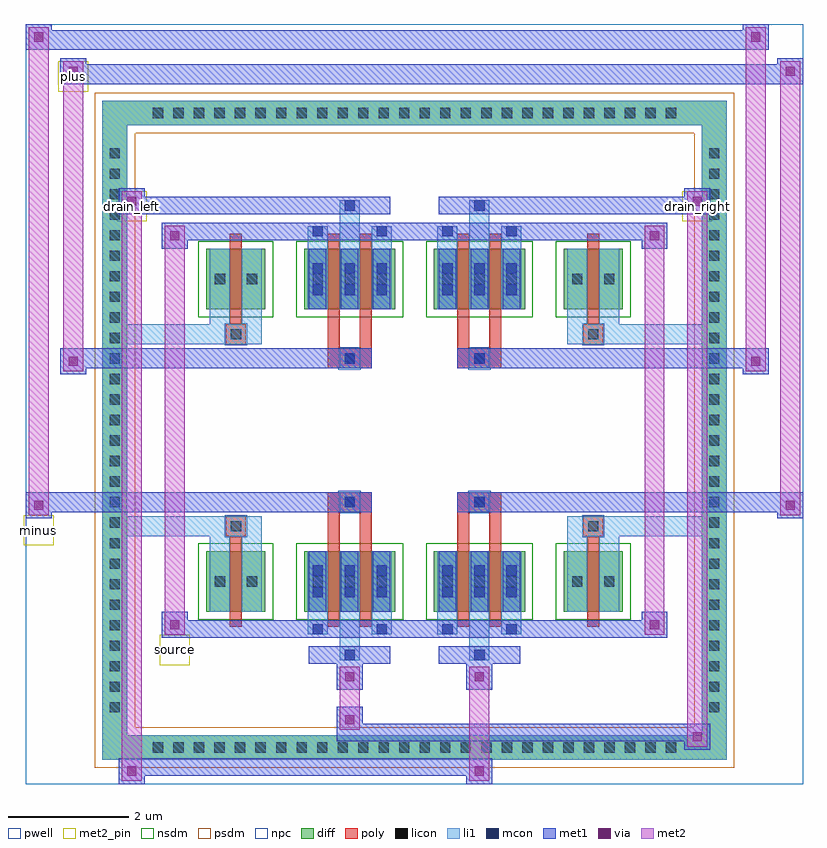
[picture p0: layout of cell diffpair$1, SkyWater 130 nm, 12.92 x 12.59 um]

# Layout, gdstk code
import gdstk
lib = gdstk.Library(unit=1e-6, precision=5e-09)
def R(c, l, rs):  # rectangles x0, y0, x1, y1
    for r in rs: c.add(gdstk.rectangle(r[:2], r[2:], *l))
def A(c, l, x, y, w, h, nx, ny, dx, dy):  # array of equal rectangles
    R(c, l, [(x+i*dx, y+j*dy, x+i*dx+w, y+j*dy+h) for i in range(nx) for j in range(ny)])
def P(c, l, *ps):  # polygons
    for p in ps: c.add(gdstk.Polygon(p, *l))
pwell = (64, 44)
diff = (65, 20)
poly = (66, 20)
licon = (66, 44)
li1 = (67, 20)
mcon = (67, 44)
met1 = (68, 20)
via = (68, 44)
met2_pin = (69, 16)
met2 = (69, 20)
nsdm = (93, 44)
psdm = (94, 20)
npc = (95, 20)

diffpair_1 = lib.new_cell('diffpair$1')
R(diffpair_1, pwell, [(-6.44,-5.86,6.44,6.73), (-3.76,-4.05,-0.01,-0.825), (0.01,-4.05,3.76,-0.825), (-3.76,0.825,-0.01,4.05), (0.01,0.825,3.76,4.05)])
A(diffpair_1, diff, -4.455, -5.46, 0.41, 0.41, 26, 2, 0.34, 10.51)
A(diffpair_1, diff, -5.17, -4.795, 0.41, 0.41, 1, 28, 0, 0.34)
A(diffpair_1, diff, 4.76, -4.795, 0.41, 0.41, 1, 28, 0, 0.34)
R(diffpair_1, diff, [(-4.455,-5.46,4.455,-5.05), (-5.17,-4.795,-4.76,4.795), (4.76,-4.795,5.17,4.795), (-3.45,-3.005,-2.47,-2.005), (-1.83,-3.005,-0.32,-2.005), (0.32,-3.005,1.83,-2.005), (2.47,-3.005,3.45,-2.005), (-3.45,2.005,-2.47,3.005), (-1.83,2.005,-0.32,3.005), (0.32,2.005,1.83,3.005), (2.47,2.005,3.45,3.005), (-4.455,5.05,4.455,5.46)])
P(diffpair_1, diff, [(5.17,5.46),(-5.17,5.46),(-5.17,-5.05),(-4.76,-5.05),(-4.76,5.05),(4.76,5.05),(4.76,-5.05),(-4.76,-5.05),(-5.17,-5.05),(-5.17,-5.46),(5.17,-5.46)])
R(diffpair_1, poly, [(-3.06,-3.255,-2.86,-1.755), (-1.44,-3.255,-1.24,-1.755), (-0.91,-3.255,-0.71,-1.755), (0.71,-3.255,0.91,-1.755), (1.24,-3.255,1.44,-1.755), (2.86,-3.255,3.06,-1.755), (-3.125,-1.755,-2.795,-1.425), (-3.125,-1.755,-2.795,-1.425), (-1.44,-1.755,-1.24,-1.355), (-0.91,-1.755,-0.71,-1.355), (0.71,-1.755,0.91,-1.355), (1.24,-1.755,1.44,-1.355), (2.795,-1.755,3.125,-1.425), (2.795,-1.755,3.125,-1.425), (-1.44,-1.355,-0.71,-1.025), (-1.24,-1.355,-0.91,-1.025), (0.71,-1.355,1.44,-1.025), (0.91,-1.355,1.24,-1.025), (-1.44,1.025,-0.71,1.355), (-1.24,1.025,-0.91,1.355), (0.71,1.025,1.44,1.355), (0.91,1.025,1.24,1.355), (-1.44,1.355,-1.24,1.755), (-0.91,1.355,-0.71,1.755), (0.71,1.355,0.91,1.755), (1.24,1.355,1.44,1.755), (-3.125,1.425,-2.795,1.755), (-3.125,1.425,-2.795,1.755), (2.795,1.425,3.125,1.755), (2.795,1.425,3.125,1.755), (-3.06,1.755,-2.86,3.255), (-1.44,1.755,-1.24,3.255), (-0.91,1.755,-0.71,3.255), (0.71,1.755,0.91,3.255), (1.24,1.755,1.44,3.255), (2.86,1.755,3.06,3.255)])
A(diffpair_1, licon, -4.335, -5.34, 0.17, 0.17, 26, 2, 0.34, 10.51)
A(diffpair_1, licon, -5.05, -4.675, 0.17, 0.17, 1, 28, 0, 0.34)
A(diffpair_1, licon, 4.88, -4.675, 0.17, 0.17, 1, 28, 0, 0.34)
A(diffpair_1, licon, -1.69, -2.59, 0.17, 0.17, 3, 2, 0.53, 5.01)
A(diffpair_1, licon, 0.46, -2.59, 0.17, 0.17, 3, 2, 0.53, 5.01)
R(diffpair_1, licon, [(-3.31,-2.59,-3.14,-2.42), (-2.78,-2.59,-2.61,-2.42), (2.61,-2.59,2.78,-2.42), (3.14,-2.59,3.31,-2.42), (-3.045,-1.675,-2.875,-1.505), (2.875,-1.675,3.045,-1.505), (-1.16,-1.275,-0.99,-1.105), (0.99,-1.275,1.16,-1.105), (-1.16,1.105,-0.99,1.275), (0.99,1.105,1.16,1.275), (-3.045,1.505,-2.875,1.675), (2.875,1.505,3.045,1.675), (-3.31,2.42,-3.14,2.59), (-2.78,2.42,-2.61,2.59), (2.61,2.42,2.78,2.59), (3.14,2.42,3.31,2.59)])
A(diffpair_1, li1, -4.415, -5.42, 0.33, 0.33, 26, 2, 0.34, 10.51)
A(diffpair_1, li1, -5.13, -4.755, 0.33, 0.33, 1, 28, 0, 0.34)
A(diffpair_1, li1, 4.8, -4.755, 0.33, 0.33, 1, 28, 0, 0.34)
A(diffpair_1, li1, -1.77, -3.005, 0.33, 1, 3, 2, 0.53, 5.01)
A(diffpair_1, li1, 0.38, -3.005, 0.33, 1, 3, 2, 0.53, 5.01)
A(diffpair_1, li1, -1.69, -2.77, 0.17, 0.17, 3, 2, 0.53, 0.36)
A(diffpair_1, li1, -1.69, -2.77, 0.17, 0.53, 3, 2, 0.53, 5.01)
A(diffpair_1, li1, 0.46, -2.77, 0.17, 0.17, 3, 2, 0.53, 0.36)
A(diffpair_1, li1, 0.46, -2.77, 0.17, 0.53, 3, 2, 0.53, 5.01)
A(diffpair_1, li1, -1.77, -2.67, 0.33, 0.33, 3, 2, 0.53, 5.01)
A(diffpair_1, li1, 0.38, -2.67, 0.33, 0.33, 3, 2, 0.53, 5.01)
A(diffpair_1, li1, -1.69, 2.24, 0.17, 0.17, 3, 2, 0.53, 0.36)
A(diffpair_1, li1, 0.46, 2.24, 0.17, 0.17, 3, 2, 0.53, 0.36)
R(diffpair_1, li1, [(-5.17,-5.46,-4.76,-5.05), (-5.17,-5.46,-4.76,-5.05), (-4.76,-5.46,4.76,-5.05), (4.76,-5.46,5.17,-5.05), (4.76,-5.46,5.17,-5.05), (-5.17,-5.05,-4.76,5.05), (4.76,-5.05,5.17,5.05), (-1.24,-3.81,-0.91,-3.005), (-1.16,-3.81,-0.99,-3.64), (0.91,-3.81,1.24,-3.005), (0.99,-3.81,1.16,-3.64), (-1.77,-3.38,-1.44,-3.005), (-1.69,-3.38,-1.52,-3.21), (-0.71,-3.38,-0.38,-3.005), (-0.63,-3.38,-0.46,-3.21), (0.38,-3.38,0.71,-3.005), (0.46,-3.38,0.63,-3.21), (1.44,-3.38,1.77,-3.005), (1.52,-3.38,1.69,-3.21), (-3.39,-3.005,-3.06,-2.005), (-2.86,-3.005,-2.53,-2.005), (2.53,-3.005,2.86,-2.005), (3.06,-3.005,3.39,-2.005), (-3.39,-2.67,-3.06,-2.34), (-2.86,-2.67,-2.53,-2.34), (2.53,-2.67,2.86,-2.34), (3.06,-2.67,3.39,-2.34), (-3.39,-2.005,-3.06,-1.425), (-2.86,-2.005,-2.53,-1.425), (2.53,-2.005,2.86,-1.425), (3.06,-2.005,3.39,-1.425), (-5.17,-1.755,-3.125,-1.425), (-3.39,-1.755,-3.125,-1.425), (-3.125,-1.755,-2.795,-1.425), (-2.795,-1.755,-2.53,-1.425), (2.53,-1.755,2.795,-1.425), (2.795,-1.755,3.125,-1.425), (2.795,-1.755,5.17,-1.425), (3.125,-1.755,3.39,-1.425), (-1.24,-1.355,-0.91,-1.025), (0.91,-1.355,1.24,-1.025), (-1.24,1.025,-0.91,1.355), (0.91,1.025,1.24,1.355), (-5.17,1.425,-3.125,1.755), (-3.39,1.425,-3.125,1.755), (-3.39,1.425,-3.06,2.005), (-3.125,1.425,-2.795,1.755), (-2.86,1.425,-2.53,2.005), (-2.795,1.425,-2.53,1.755), (2.53,1.425,2.795,1.755), (2.53,1.425,2.86,2.005), (2.795,1.425,3.125,1.755), (2.795,1.425,5.17,1.755), (3.06,1.425,3.39,2.005), (3.125,1.425,3.39,1.755), (-3.39,2.005,-3.06,3.005), (-2.86,2.005,-2.53,3.005), (2.53,2.005,2.86,3.005), (3.06,2.005,3.39,3.005), (-3.39,2.34,-3.06,2.67), (-2.86,2.34,-2.53,2.67), (2.53,2.34,2.86,2.67), (3.06,2.34,3.39,2.67), (-1.77,3.005,-1.44,3.38), (-1.24,3.005,-0.91,3.81), (-0.71,3.005,-0.38,3.38), (0.38,3.005,0.71,3.38), (0.91,3.005,1.24,3.81), (1.44,3.005,1.77,3.38), (-1.69,3.21,-1.52,3.38), (-0.63,3.21,-0.46,3.38), (0.46,3.21,0.63,3.38), (1.52,3.21,1.69,3.38), (-1.16,3.64,-0.99,3.81), (0.99,3.64,1.16,3.81), (-5.17,5.05,-4.76,5.46), (-5.17,5.05,-4.76,5.46), (-4.76,5.05,4.76,5.46), (4.76,5.05,5.17,5.46), (4.76,5.05,5.17,5.46)])
A(diffpair_1, mcon, -1.69, -2.77, 0.17, 0.17, 3, 2, 0.53, 0.36)
A(diffpair_1, mcon, 0.46, -2.77, 0.17, 0.17, 3, 2, 0.53, 0.36)
A(diffpair_1, mcon, -1.69, 2.24, 0.17, 0.17, 3, 2, 0.53, 0.36)
A(diffpair_1, mcon, 0.46, 2.24, 0.17, 0.17, 3, 2, 0.53, 0.36)
R(diffpair_1, mcon, [(-1.16,-3.81,-0.99,-3.64), (0.99,-3.81,1.16,-3.64), (-1.69,-3.38,-1.52,-3.21), (-0.63,-3.38,-0.46,-3.21), (0.46,-3.38,0.63,-3.21), (1.52,-3.38,1.69,-3.21), (-1.16,-1.275,-0.99,-1.105), (0.99,-1.275,1.16,-1.105), (-1.16,1.105,-0.99,1.275), (0.99,1.105,1.16,1.275), (-1.69,3.21,-1.52,3.38), (-0.63,3.21,-0.46,3.38), (0.46,3.21,0.63,3.38), (1.52,3.21,1.69,3.38), (-1.16,3.64,-0.99,3.81), (0.99,3.64,1.16,3.81)])
A(diffpair_1, met1, -1.75, -3.005, 0.29, 1, 3, 2, 0.53, 5.01)
A(diffpair_1, met1, 0.4, -3.005, 0.29, 1, 3, 2, 0.53, 5.01)
A(diffpair_1, met1, -1.75, -2.83, 0.29, 0.29, 3, 2, 0.53, 0.36)
A(diffpair_1, met1, 0.4, -2.83, 0.29, 0.29, 3, 2, 0.53, 0.36)
A(diffpair_1, met1, -1.75, 2.18, 0.29, 0.29, 3, 2, 0.53, 0.36)
A(diffpair_1, met1, 0.4, 2.18, 0.29, 0.29, 3, 2, 0.53, 0.36)
R(diffpair_1, met1, [(-4.9,-5.86,-4.47,-5.43), (0.86,-5.86,1.29,-5.43), (-4.9,-5.72,1.29,-5.43), (4.47,-5.29,4.9,-4.86), (-1.29,-5.15,4.9,-4.86), (-1.29,-5.01,-0.86,-4.58), (-1.29,-4.3,-0.86,-3.87), (0.86,-4.3,1.29,-3.87), (-1.75,-3.87,-0.4,-3.58), (-1.22,-3.87,-0.93,-3.58), (0.4,-3.87,1.75,-3.58), (0.93,-3.87,1.22,-3.58), (-4.19,-3.44,-3.76,-3.01), (-4.19,-3.44,-1.75,-3.15), (-1.75,-3.44,-1.46,-3.15), (-1.75,-3.44,-0.4,-3.15), (-0.69,-3.44,-0.4,-3.15), (-0.4,-3.44,0.4,-3.15), (0.4,-3.44,0.69,-3.15), (0.4,-3.44,1.75,-3.15), (1.46,-3.44,1.75,-3.15), (1.75,-3.44,4.19,-3.15), (3.76,-3.44,4.19,-3.01), (-6.44,-1.455,-6.01,-1.025), (6.01,-1.455,6.44,-1.025), (-6.44,-1.355,-0.71,-1.025), (-1.44,-1.355,-0.71,-1.025), (0.71,-1.355,1.44,-1.025), (0.71,-1.355,6.44,-1.025), (-1.22,-1.335,-0.93,-1.045), (0.93,-1.335,1.22,-1.045), (-5.87,0.925,-5.44,1.355), (5.44,0.925,5.87,1.355), (-5.87,1.025,-1.44,1.355), (-1.44,1.025,-0.71,1.355), (0.71,1.025,1.44,1.355), (1.44,1.025,5.87,1.355), (-1.22,1.045,-0.93,1.335), (0.93,1.045,1.22,1.335), (-4.19,3.01,-3.76,3.44), (3.76,3.01,4.19,3.44), (-4.19,3.15,-1.75,3.44), (-1.75,3.15,-1.46,3.44), (-1.75,3.15,-0.4,3.44), (-0.69,3.15,-0.4,3.44), (-0.4,3.15,0.4,3.44), (0.4,3.15,0.69,3.44), (0.4,3.15,1.75,3.44), (1.46,3.15,1.75,3.44), (1.75,3.15,4.19,3.44), (-4.9,3.58,-4.47,4.01), (-4.9,3.58,-1.75,3.87), (-1.75,3.58,-0.4,3.87), (-1.22,3.58,-0.93,3.87), (0.4,3.58,1.75,3.87), (0.93,3.58,1.22,3.87), (1.75,3.58,4.9,3.87), (4.47,3.58,4.9,4.01), (-5.87,5.73,-5.44,6.16), (-5.87,5.73,-3.76,6.06), (-3.76,5.73,3.76,6.06), (3.76,5.73,6.44,6.06), (6.01,5.73,6.44,6.16), (-6.44,6.3,-6.01,6.73), (-6.44,6.3,-3.76,6.63), (-3.76,6.3,3.76,6.63), (3.76,6.3,5.87,6.63), (5.44,6.3,5.87,6.73)])
R(diffpair_1, via, [(-4.76,-5.72,-4.61,-5.57), (1,-5.72,1.15,-5.57), (4.61,-5.15,4.76,-5), (-1.15,-4.87,-1,-4.72), (-1.15,-4.16,-1,-4.01), (1,-4.16,1.15,-4.01), (-4.05,-3.3,-3.9,-3.15), (3.9,-3.3,4.05,-3.15), (-6.3,-1.315,-6.15,-1.165), (6.15,-1.315,6.3,-1.165), (-5.73,1.065,-5.58,1.215), (5.58,1.065,5.73,1.215), (-4.05,3.15,-3.9,3.3), (3.9,3.15,4.05,3.3), (-4.76,3.72,-4.61,3.87), (4.61,3.72,4.76,3.87), (-5.73,5.87,-5.58,6.02), (6.15,5.87,6.3,6.02), (-6.3,6.44,-6.15,6.59), (5.58,6.44,5.73,6.59)])
R(diffpair_1, met2_pin, [(-4.225,-3.89,-3.725,-3.39), (-6.475,-1.905,-5.975,-1.405), (-4.935,3.46,-4.435,3.96), (4.435,3.46,4.935,3.96), (-5.905,5.61,-5.405,6.11)])
R(diffpair_1, met2, [(-4.85,-5.81,-4.52,-5.48), (-4.85,-5.81,-4.52,3.96), (0.91,-5.81,1.24,-5.48), (0.91,-5.48,1.24,-4.25), (4.52,-5.24,4.85,-4.91), (4.52,-5.24,4.85,3.96), (-1.24,-4.96,-0.91,-4.63), (-1.24,-4.63,-0.91,-4.25), (-1.24,-4.25,-0.91,-3.92), (0.91,-4.25,1.24,-3.92), (-4.14,-3.39,-3.81,-3.06), (-4.14,-3.39,-3.81,3.39), (3.81,-3.39,4.14,-3.06), (3.81,-3.39,4.14,3.39), (-6.39,-1.405,-6.06,-1.075), (-6.39,-1.405,-6.06,6.68), (6.06,-1.405,6.39,-1.075), (6.06,-1.405,6.39,6.11), (-5.82,0.975,-5.49,1.305), (-5.82,0.975,-5.49,6.11), (5.49,0.975,5.82,1.305), (5.49,0.975,5.82,6.68), (-4.14,3.06,-3.81,3.39), (3.81,3.06,4.14,3.39), (-4.85,3.63,-4.52,3.96), (4.52,3.63,4.85,3.96), (-5.82,5.78,-5.49,6.11), (6.06,5.78,6.39,6.11), (-6.39,6.35,-6.06,6.68), (5.49,6.35,5.82,6.68)])
P(diffpair_1, met2, [(6.39,-1.405),(6.39,-1.405),(6.39,-1.075),(6.39,-1.075)],
  [(6.39,5.78),(6.39,5.78),(6.39,6.11),(6.39,6.11)],
  [(-6.06,-1.405),(-6.06,-1.405),(-6.06,-1.075),(-6.06,-1.075)],
  [(-6.06,6.35),(-6.06,6.35),(-6.06,6.68),(-6.06,6.68)],
  [(5.82,0.975),(5.82,0.975),(5.82,1.305),(5.82,1.305)],
  [(5.82,6.35),(5.82,6.35),(5.82,6.68),(5.82,6.68)],
  [(-5.49,0.975),(-5.49,0.975),(-5.49,1.305),(-5.49,1.305)],
  [(-5.49,5.78),(-5.49,5.78),(-5.49,6.11),(-5.49,6.11)],
  [(-4.52,-5.81),(-4.52,-5.81),(-4.52,-5.48),(-4.52,-5.48)],
  [(-4.52,3.63),(-4.52,3.63),(-4.52,3.96),(-4.52,3.96)],
  [(4.85,-5.24),(4.85,-5.24),(4.85,-4.91),(4.85,-4.91)],
  [(4.85,3.63),(4.85,3.63),(4.85,3.96),(4.85,3.96)],
  [(-3.81,-3.39),(-3.81,-3.39),(-3.81,-3.06),(-3.81,-3.06)],
  [(-3.81,3.06),(-3.81,3.06),(-3.81,3.39),(-3.81,3.39)],
  [(4.14,-3.39),(4.14,-3.39),(4.14,-3.06),(4.14,-3.06)],
  [(4.14,3.06),(4.14,3.06),(4.14,3.39),(4.14,3.39)])
R(diffpair_1, nsdm, [(-3.58,-3.135,-2.34,-1.875), (-1.96,-3.135,-0.19,-1.875), (0.19,-3.135,1.96,-1.875), (2.34,-3.135,3.58,-1.875), (-3.58,1.875,-2.34,3.135), (-1.96,1.875,-0.19,3.135), (0.19,1.875,1.96,3.135), (2.34,1.875,3.58,3.135)])
P(diffpair_1, psdm, [(5.3,5.59),(-5.3,5.59),(-5.3,-4.92),(-4.63,-4.92),(-4.63,4.92),(4.63,4.92),(4.63,-4.92),(-4.63,-4.92),(-5.3,-4.92),(-5.3,-5.59),(5.3,-5.59)])
R(diffpair_1, npc, [(-3.145,-1.775,-2.775,-1.405), (2.775,-1.775,3.145,-1.405), (-1.26,-1.375,-0.89,-1.005), (0.89,-1.375,1.26,-1.005), (-1.26,1.005,-0.89,1.375), (0.89,1.005,1.26,1.375), (-3.145,1.405,-2.775,1.775), (2.775,1.405,3.145,1.775)])
diffpair_1.add(gdstk.Label('minus', (-6.225,-1.655), layer=69, texttype=5))
diffpair_1.add(gdstk.Label('drain_right', (4.685,3.71), layer=69, texttype=5))
diffpair_1.add(gdstk.Label('drain_left', (-4.685,3.71), layer=69, texttype=5))
diffpair_1.add(gdstk.Label('source', (-3.975,-3.64), layer=69, texttype=5))
diffpair_1.add(gdstk.Label('plus', (-5.655,5.86), layer=69, texttype=5))

lib.write_gds('diffpair_1.gds')
